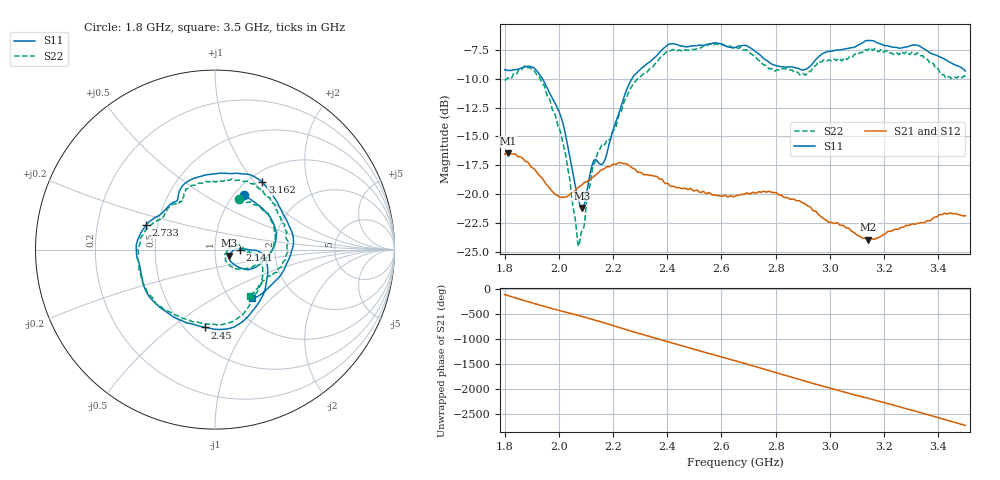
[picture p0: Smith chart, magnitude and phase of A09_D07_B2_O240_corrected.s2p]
! Created with skrf 1.9.0 (http://scikit-rf.org).
# Hz S RI R 50.0
!freq ReS11 ImS11 ReS21 ImS21 ReS12 ImS12 ReS22 ImS22
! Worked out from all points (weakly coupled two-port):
!   1601 points, 1.8 GHz to 3.5 GHz, reference 50 ohm
!   highest |S21| = -16.45 dB at 1.812 GHz (marker M1); lowest = -23.9 dB at 3.142 GHz (marker M2)
!   lowest |S11| = -21.2 dB at 2.085 GHz (marker M3), VSWR 1.19, Z = 58.6 - j3.96 ohm
!   |S11| at or under -10 dB: 1.939 GHz to 2.27 GHz (330.6 MHz wide, 15.7 % of centre)
!   |S22| runs from -24.5 to -7.0 dB; largest |S21 - S12| = 0.0029
!   S11 on the Smith chart (normalised r, x): 1.8 GHz: 1.11, +0.77; 2.141 GHz: 1.32, -0.01; 2.45 GHz: 0.62, -0.67; 2.733 GHz: 0.43, +0.14; 3.162 GHz: 1.16, +1.10; 3.5 GHz: 1.26, -0.77
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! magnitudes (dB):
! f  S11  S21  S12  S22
! 1.8 GHz  -9.2  -16.5  -16.5  -10.1
! 1.812 GHz  -9.3  -16.5  -16.5  -9.9
! 1.88 GHz  -9.0  -17.2  -17.2  -9.0
! 1.943 GHz  -10.2  -18.8  -18.8  -10.5
! 2.011 GHz  -13.6  -20.2  -20.2  -15.2
! 2.069 GHz  -20.1  -19.5  -19.5  -24.0
! 2.084 GHz  -21.1  -19.2  -19.2  -23.2
! 2.085 GHz  -21.2  -19.2  -19.2  -23.2
! 2.124 GHz  -17.4  -18.6  -18.5  -17.8
! 2.141 GHz  -17.1  -18.2  -18.2  -16.6
! 2.169 GHz  -17.1  -17.8  -17.8  -15.7
! 2.269 GHz  -10.1  -17.7  -17.7  -10.7
! 2.367 GHz  -7.9  -18.6  -18.5  -8.4
! 2.45 GHz  -7.2  -19.5  -19.5  -7.6
! 2.65 GHz  -7.3  -20.2  -20.1  -7.3
! 2.733 GHz  -7.8  -19.8  -19.8  -8.3
! 2.934 GHz  -8.8  -21.3  -21.3  -9.2
! 3.142 GHz  -6.7  -23.9  -23.8  -7.5
! 3.162 GHz  -6.8  -23.9  -23.8  -7.5
! 3.217 GHz  -7.2  -23.2  -23.2  -7.8
! 3.326 GHz  -7.1  -22.5  -22.5  -7.8
! 3.5 GHz  -9.4  -21.8  -21.8  -9.8
